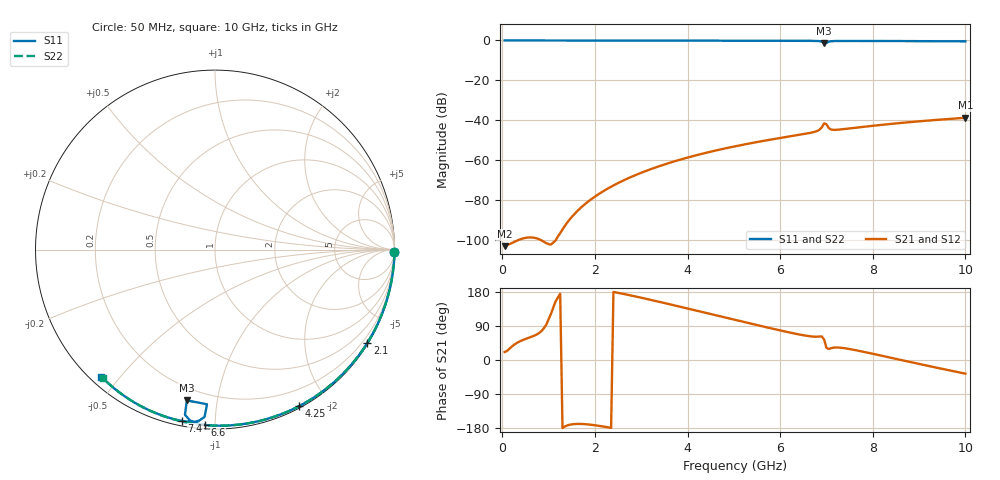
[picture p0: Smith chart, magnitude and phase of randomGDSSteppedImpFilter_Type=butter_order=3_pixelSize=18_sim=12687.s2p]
! freq	dB(S11)	phase(S11)	dB(S12)	phase(S12)
!  dB(S21)	phase(S21)	dB(S22)	phase(S22)
!S-par simulation data
#  GHz  S  DB  R 50
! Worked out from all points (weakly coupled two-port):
!   200 points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, 50 MHz to 10 GHz, reference 50 ohm
!   highest |S21| = -38.79 dB at 10 GHz (marker M1); lowest = -103.2 dB at 50 MHz (marker M2)
!   lowest |S11| = -1.4 dB at 6.95 GHz (marker M3), VSWR 12.78, Z = 6.58 - j41.1 ohm
!   |S11| at or under -10 dB: nowhere
!   |S22| runs from -0.4 to 0.0 dB; largest |S21 - S12| = 0
!   S11 on the Smith chart (normalised r, x): 50 MHz: open; 2.1 GHz: 0.03, -3.55; 4.25 GHz: 0.02, -1.67; 6.6 GHz: 0.02, -0.94; 7.4 GHz: 0.02, -0.83; 10 GHz: 0.03, -0.45
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0.05  -0.00 -0.8  -103.19 21.0  -103.19 21.0  -0.00 -0.8
0.9  -0.02 -13.7  -101.02 84.3  -101.02 84.3  -0.02 -13.6
1.75  -0.03 -26.3  -82.78 -169.0  -82.78 -169.0  -0.03 -26.1
1.9  -0.04 -28.6  -79.99 -170.6  -79.99 -170.6  -0.04 -28.3
2.1  -0.04 -31.5  -76.79 -173.9  -76.79 -173.9  -0.04 -31.2
2.35  -0.04 -35.1  -73.35 -179.2  -73.35 -179.2  -0.04 -34.9
2.65  -0.05 -39.5  -69.85 173.6  -69.85 173.6  -0.05 -39.2
3.4  -0.07 -50.2  -62.98 153.2  -62.98 153.2  -0.07 -49.8
4.25  -0.09 -61.9  -57.22 128.6  -57.22 128.6  -0.09 -61.4
5.05  -0.11 -72.7  -52.99 105.2  -52.99 105.2  -0.11 -72.0
5.85  -0.14 -83.2  -49.52 82.2  -49.52 82.2  -0.14 -82.3
6.6  -0.19 -93.3  -46.59 63.3  -46.59 63.3  -0.17 -91.6
6.7  -0.21 -95.0  -46.11 61.9  -46.11 61.9  -0.18 -92.8
6.85  -0.35 -98.4  -44.78 62.1  -44.78 62.1  -0.19 -94.6
6.9  -0.58 -100.3  -43.60 62.1  -43.60 62.1  -0.19 -95.3
6.95  -1.36 -100.6  -41.56 53.7  -41.56 53.7  -0.19 -95.9
7  -1.28 -93.0  -42.03 32.1  -42.03 32.1  -0.20 -96.5
7.05  -0.59 -93.6  -43.96 28.9  -43.96 28.9  -0.20 -97.1
7.1  -0.38 -95.3  -44.66 31.1  -44.66 31.1  -0.20 -97.7
7.4  -0.24 -100.9  -44.40 31.0  -44.40 31.0  -0.22 -101.2
8.35  -0.29 -112.8  -41.96 7.1  -41.96 7.1  -0.29 -112.4
10  -0.45 -131.9  -38.79 -36.0  -38.79 -36.0  -0.45 -131.1
